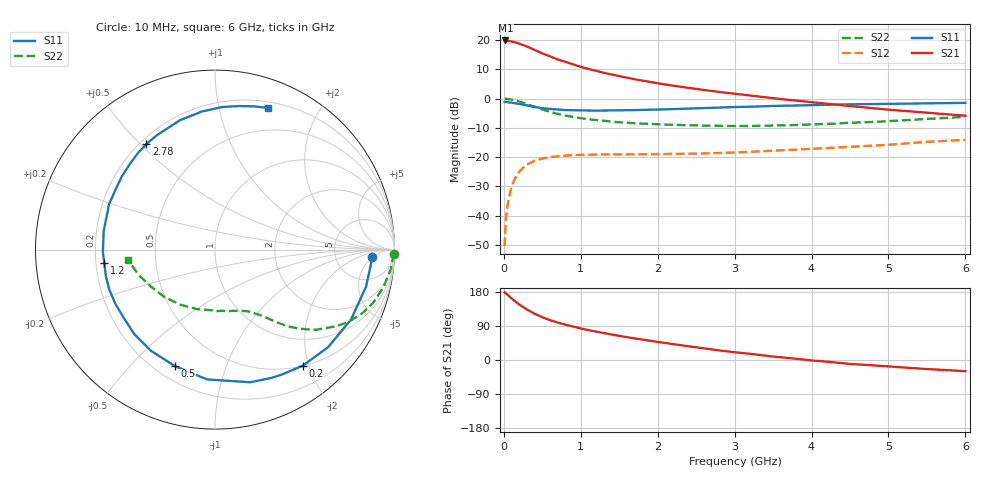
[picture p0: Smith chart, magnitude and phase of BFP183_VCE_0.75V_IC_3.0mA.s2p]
! Infineon Technologies  Discrete & RF Semiconductors
! BFP183
! VCE = 0.75V,  IC =  3.0 mA
! Common Emitter S-Parameters:  Jan 2016
# GHz  S  MA  R  50
!  f  S11  S21  S12  S22
! GHz  MAG  ANG  MAG  ANG  MAG  ANG  MAG  ANG
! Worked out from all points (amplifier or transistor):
!   210 points, 10 MHz to 6 GHz, reference 50 ohm
!   highest |S21| = 19.8 dB at 20 MHz (marker M1)
!   |S21| within 3 dB of that: start of sweep to 378.9 MHz
!   unconditionally stable (mu >= 1): 1.753 GHz to end of sweep
!   at 185 MHz: K = 0.13, MSG = 22.3 dB, |S12| = -25.6 dB
!   at 1.52 GHz: K = 0.89, MSG = 13.3 dB, |S12| = -19.1 dB
!   at 6 GHz: K = 1.12, MAG = 2.0 dB, |S12| = -14.1 dB
!   S11 on the Smith chart (normalised r, x): 10 MHz: 13, -5; 200 MHz: 0.50, -1.90; 500 MHz: 0.28, -0.68; 1.2 GHz: 0.23, -0.06; 2.78 GHz: 0.23, +0.52; 6 GHz: 0.26, +1.41
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0.01  0.8738 -2.7  9.721 178.6  0.003 88.6  0.9948 -1.3
0.02  0.8717 -5.9  9.819 177.0  0.0061 84.2  0.9929 -2.6
0.05  0.8666 -13.8  9.704 171.2  0.0156 83.6  0.9849 -6.5
0.11  0.8445 -29.9  9.319 160.9  0.033 72.7  0.9541 -13.8
0.15  0.8323 -40.8  9.113 154.1  0.0442 67.8  0.9299 -18.6
0.2  0.8109 -52.9  8.693 146.4  0.0557 61.7  0.8915 -23.7
0.26  0.7806 -66.4  8.1 138.1  0.0673 54.7  0.838 -29.0
0.3  0.7648 -75.1  7.768 133.2  0.0739 51.0  0.8001 -32.2
0.4  0.7246 -93.5  6.763 121.9  0.0866 42.9  0.7181 -38.5
0.5  0.6865 -109.0  5.9 112.7  0.0946 36.4  0.6488 -42.9
0.6  0.6671 -122.4  5.278 105.2  0.0998 31.5  0.5918 -46.3
0.7  0.651 -133.7  4.661 98.8  0.103 27.8  0.5454 -48.8
0.8  0.6348 -143.2  4.223 93.0  0.1058 24.7  0.5103 -50.8
1.02  0.6281 -160.8  3.413 82.4  0.1091 19.8  0.4569 -54.3
1.2  0.6215 -173.1  2.957 74.9  0.111 17.0  0.4284 -57.1
1.5  0.6286 170.8  2.413 63.5  0.1109 15.0  0.3921 -61.5
2.02  0.6483 148.0  1.803 47.1  0.1126 13.7  0.3628 -70.2
2.78  0.701 123.1  1.306 25.8  0.1172 14.9  0.343 -87.4
3.1  0.7188 114.5  1.163 18.5  0.1211 16.0  0.3386 -96.0
4.1  0.7758 93.8  0.841 -2.8  0.1403 16.9  0.3645 -124.7
5.1  0.8131 79.4  0.63 -18.4  0.1657 16.1  0.4167 -152.1
6  0.8425 69.6  0.508 -29.6  0.1966 10.5  0.4869 -173.0
